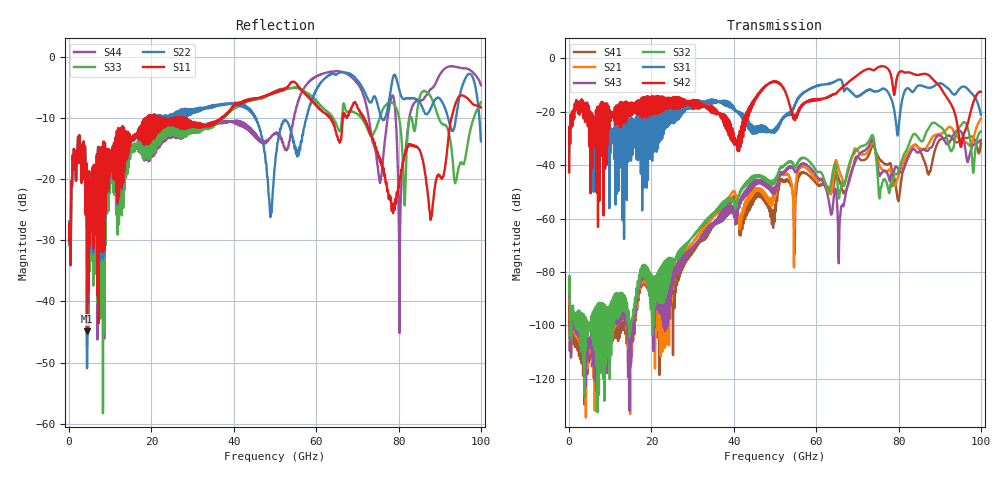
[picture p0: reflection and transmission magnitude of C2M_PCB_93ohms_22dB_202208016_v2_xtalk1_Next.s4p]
! Info: Touchstone file created by Circ.  Input file=Intel_C2M_200G_8p5in_202208016_staggered.circ
# Hz S RI R 50
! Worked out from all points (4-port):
!   10000 points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, 10 MHz to 100 GHz, reference 50 ohm
!   strongest paths, dB at 10 MHz, 25.01 GHz, 50.01 GHz, 75.01 GHz, 100 GHz:
!     S42: -42.6, -16.9, -8.6, -3.4, -12.5
!     S31: -42.7, -21.5, -26.7, -12.3, -21.1
!     S32: -87.5, -78.3, -45.1, -45.3, -27.4
!     S43: -88.5, -81.6, -48.8, -41.5, -30.5
!     S21: -88.9, -79.1, -49.5, -38.4, -22.6
!     S41: -91.1, -79.3, -55.2, -36.7, -31.5
!   lowest |S11| = -44.9 dB at 4.37 GHz (marker M1), VSWR 1.01, Z = 49.6 - j0.443 ohm
!   |S11| at or under -10 dB: start of sweep to 18.47 GHz; 28.46 GHz to 36.73 GHz (8.27 GHz wide, 25.4 % of centre); 71.72 GHz to 92.82 GHz (21.1 GHz wide, 25.7 % of centre)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
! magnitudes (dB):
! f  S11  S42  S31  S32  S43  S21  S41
! 10 MHz  -30.1  -42.6  -42.7  -87.5  -88.5  -88.9  -91.1
! 4.37 GHz  -44.9  -16.6  -18.0  -101.2  -108.1  -107.8  -112.2
! 40.84 GHz  -7.7  -31.0  -20.0  -53.2  -56.4  -55.1  -56.5
! 73.49 GHz  -12.9  -4.2  -12.0  -28.8  -30.5  -31.6  -33.1
! 76.17 GHz  -18.4  -3.0  -11.4  -46.1  -42.5  -41.9  -38.9
! 95.19 GHz  -6.2  -33.2  -11.0  -25.0  -27.5  -31.0  -30.2
! 100 GHz  -8.2  -12.5  -21.1  -27.4  -30.5  -22.6  -31.5
